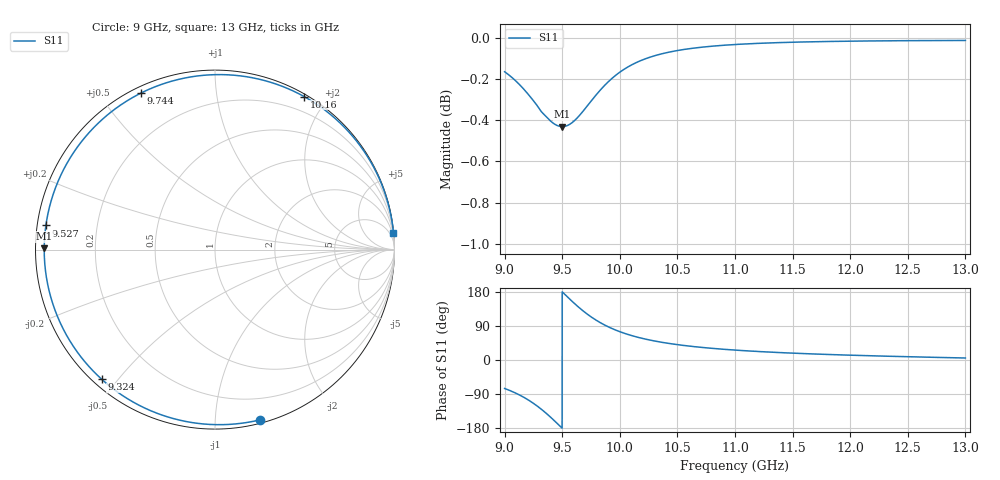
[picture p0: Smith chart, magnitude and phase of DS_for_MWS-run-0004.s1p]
! TOUCHSTONE file generated by CST DESIGN STUDIO
! Date and time: Tue Feb  4 17:55:17 2025
! Project name: C:\Work\MatlabApps\UnitCellOptimizationMatlab\CST\unitcell.cst
! Tree item: Tasks\Sweep1\SPara1\S-Parameters
! Header version: 2024
! Port assignment regex: !\s*Touchstone port\s*([0-9]+)\s*=\s*(CST MWS port|CST DES external port|CST DES block port)\s*(.+)\s* \(\"(.*)\"\)(\s*mode\s*([0-9]+))?.*
! Touchstone port assignment:
! Touchstone port 1 = CST DES external port 1 ("")
# GHz S MA R 50
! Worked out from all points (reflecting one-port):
!   4001 points, 9 GHz to 13 GHz, reference 50 ohm
!   lowest |S11| = -0.4 dB at 9.501 GHz (marker M1), VSWR 40.31, Z = 1.24 + j0.193 ohm
!   phase of S11 starts at -75 deg and turns -280 deg over the sweep
!   S11 on the Smith chart (normalised r, x): 9 GHz: 0.03, -1.30; 9.324 GHz: 0.03, -0.45; 9.527 GHz: 0.02, +0.07; 9.744 GHz: 0.03, +0.63; 10.16 GHz: 0.03, +1.74; 13 GHz: 0, +22
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9  0.9813 -75.1
9.085  0.9769 -85.8
9.187  0.9703 -102.0
9.258  0.9649 -116.0
9.324  0.9592 -131.2
9.371  0.9562 -143.3
9.42  0.9535 -156.8
9.461  0.9521 -168.6
9.5  0.9516 179.9
9.501  0.9516 179.6
9.527  0.9518 171.9
9.58  0.9534 156.5
9.64  0.9569 140.0
9.691  0.9606 127.2
9.744  0.9648 115.2
9.796  0.9687 104.8
9.854  0.9729 94.6
9.926  0.9773 83.9
10  0.981 74.7
10.159  0.9868 59.8
10.314  0.9903 49.5
10.5  0.993 40.5
10.722  0.9949 32.9
11  0.9963 26.1
11.5  0.9976 18.1
12  0.9982 12.7
12.5  0.9985 8.6
13  0.9986 5.3
